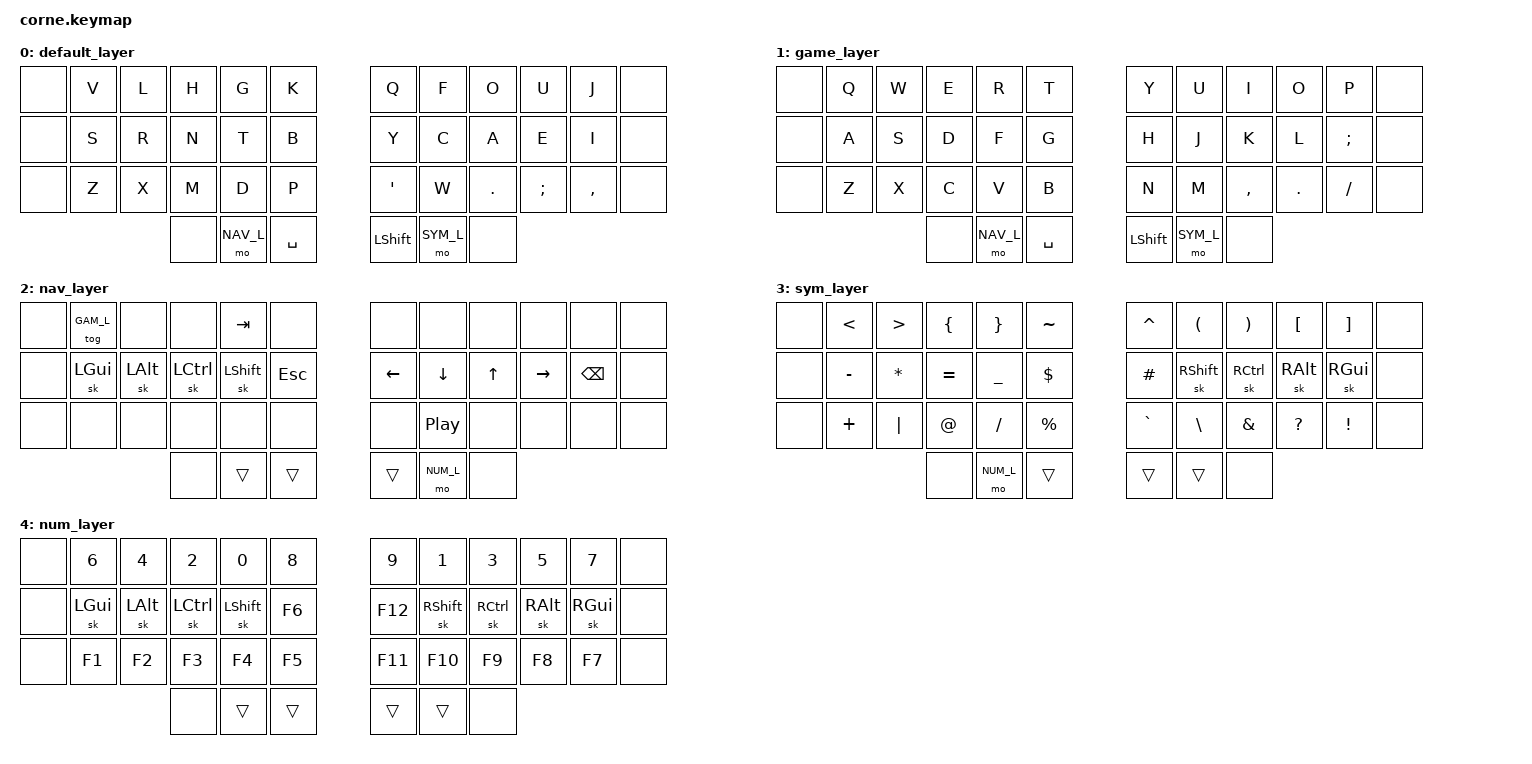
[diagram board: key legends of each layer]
/*
 * Copyright (c) 2022 The ZMK Contributors
 *
 * SPDX-License-Identifier: MIT
 */

#include <behaviors.dtsi>
#include <dt-bindings/zmk/keys.h>
#include <dt-bindings/zmk/bt.h>

#define DEF_L 0
#define GAM_L 1
#define NAV_L 2
#define SYM_L 3
#define NUM_L 4


/ {
    keymap {
        compatible = "zmk,keymap";

        default_layer {
            bindings = <
                &none &kp V     &kp L     &kp H     &kp G     &kp K &kp Q   &kp F &kp O   &kp U    &kp J     &none
                &none &kp S     &kp R     &kp N     &kp T     &kp B &kp Y   &kp C &kp A   &kp E    &kp I     &none
                &none &kp Z     &kp X     &kp M     &kp D     &kp P &kp SQT &kp W &kp DOT &kp SEMI &kp COMMA &none
                &none &mo NAV_L &kp SPACE &kp LSHFT &mo SYM_L &none
            >;
        };

        game_layer {
            bindings = <
                &none &kp Q &kp W &kp E &kp R &kp T &kp Y &kp U &kp I     &kp O   &kp P    &none
                &none &kp A &kp S &kp D &kp F &kp G &kp H &kp J &kp K     &kp L   &kp SEMI &none
                &none &kp Z &kp X &kp C &kp V &kp B &kp N &kp M &kp COMMA &kp DOT &kp FSLH &none
                &none &mo NAV_L &kp SPACE &kp LSHFT &mo SYM_L &none
            >;
        };

        nav_layer {
            bindings = <
                &none &tog GAM_L &none    &none     &kp TAB   &none   &none    &none     &none  &none      &none    &none
                &none &sk LGUI   &sk LALT &sk LCTRL &sk LSHFT &kp ESC &kp LEFT &kp DOWN  &kp UP &kp RIGHT  &kp BSPC &none
                &none &none      &none    &none     &none     &none   &none    &kp C_PP  &none  &none      &none    &none
                &none &trans     &trans   &trans    &mo NUM_L &none
            >;
        };

        sym_layer {
            bindings = <
                &none &kp LT        &kp GT   &kp LBRC  &kp RBRC  &kp TILDE &kp CARET &kp LPAR  &kp RPAR  &kp LBKT   &kp RBKT &none
                &none &kp MINUS     &kp STAR &kp EQUAL &kp UNDER &kp DLLR  &kp HASH  &sk RSHFT &sk RCTRL &sk RALT   &sk RGUI &none
                &none &kp PLUS      &kp PIPE &kp AT    &kp FSLH  &kp PRCNT &kp GRAVE &kp BSLH  &kp AMPS  &kp QMARK  &kp EXCL &none
                &none &mo NUM_L     &trans   &trans    &trans    &none
            >;
        };

        num_layer {
            bindings = <
                &none &kp N6   &kp N4   &kp N2    &kp N0    &kp N8 &kp N9  &kp N1    &kp N3    &kp N5   &kp N7   &none
                &none &sk LGUI &sk LALT &sk LCTRL &sk LSHFT &kp F6 &kp F12 &sk RSHFT &sk RCTRL &sk RALT &sk RGUI &none
                &none &kp F1   &kp F2   &kp F3    &kp F4    &kp F5 &kp F11 &kp F10   &kp F9    &kp F8   &kp F7   &none
                &none &trans   &trans   &trans    &trans    &none
            >;
        };
    };
};
